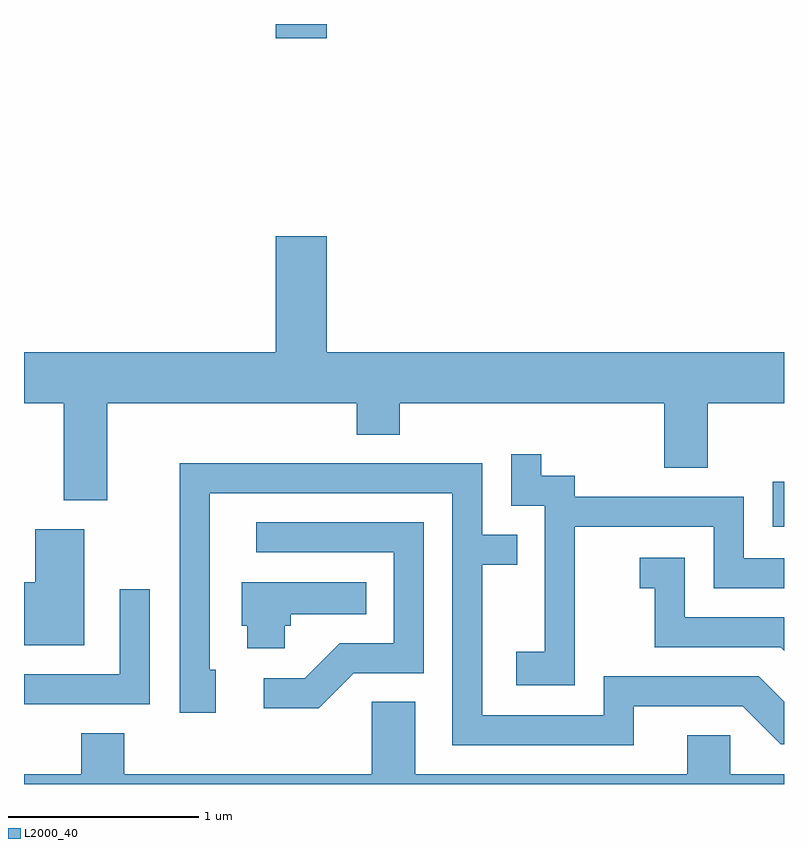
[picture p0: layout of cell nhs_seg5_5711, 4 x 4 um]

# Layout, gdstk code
import gdstk
lib = gdstk.Library(unit=1e-6, precision=1e-09)
def R(c, l, rs):  # rectangles x0, y0, x1, y1
    for r in rs: c.add(gdstk.rectangle(r[:2], r[2:], *l))
def P(c, l, *ps):  # polygons
    for p in ps: c.add(gdstk.Polygon(p, *l))
L2000_40 = (2000, 40)

nhs_seg5_5711 = lib.new_cell('nhs_seg5_5711')
R(nhs_seg5_5711, L2000_40, [(357.551,1509.426,357.611,1509.663), (354.936,1511.996,355.204,1512.072)])
P(nhs_seg5_5711, L2000_40, [(354.049,1510.076),(355.361,1510.076),(355.361,1509.911),(355.589,1509.911),(355.589,1510.076),(356.981,1510.076),(356.981,1509.736),(357.209,1509.736),(357.209,1510.076),(357.611,1510.076),(357.611,1510.344),(355.204,1510.344),(355.204,1510.954),(354.936,1510.954),(354.936,1510.344),(353.611,1510.344),(353.611,1510.076),(353.821,1510.076),(353.821,1509.566),(354.049,1509.566)],
  [(356.509,1509.426),(357.241,1509.426),(357.241,1509.101),(357.611,1509.101),(357.611,1509.259),(357.399,1509.259),(357.399,1509.584),(356.509,1509.584),(356.509,1509.694),(356.334,1509.694),(356.334,1509.808),(356.176,1509.808),(356.176,1509.536),(356.351,1509.536),(356.351,1508.769),(356.201,1508.769),(356.201,1508.591),(356.509,1508.591)],
  [(356.819,1508.481),(357.394,1508.481),(357.594,1508.281),(357.611,1508.281),(357.611,1508.505),(357.477,1508.639),(356.661,1508.639),(356.661,1508.434),(356.024,1508.434),(356.024,1509.226),(356.208,1509.226),(356.208,1509.384),(356.024,1509.384),(356.024,1509.759),(354.431,1509.759),(354.431,1508.446),(354.619,1508.446),(354.619,1508.674),(354.589,1508.674),(354.589,1509.601),(355.866,1509.601),(355.866,1508.276),(356.819,1508.276)],
  [(355.347,1508.656),(355.714,1508.656),(355.714,1509.449),(354.833,1509.449),(354.833,1509.291),(355.556,1509.291),(355.556,1508.814),(355.274,1508.814),(355.089,1508.629),(354.873,1508.629),(354.873,1508.471),(355.162,1508.471)],
  [(353.929,1509.414),(353.671,1509.414),(353.671,1509.134),(353.611,1509.134),(353.611,1508.801),(353.929,1508.801)],
  [(357.611,1508.949),(357.089,1508.949),(357.089,1509.264),(356.853,1509.264),(356.853,1509.101),(356.931,1509.101),(356.931,1508.791),(357.594,1508.791),(357.611,1508.774)],
  [(354.984,1508.906),(355.014,1508.906),(355.014,1508.966),(355.413,1508.966),(355.413,1509.134),(354.756,1509.134),(354.756,1508.906),(354.786,1508.906),(354.786,1508.786),(354.984,1508.786)],
  [(354.274,1509.098),(354.116,1509.098),(354.116,1508.649),(353.611,1508.649),(353.611,1508.491),(354.274,1508.491)],
  [(357.611,1508.124),(357.329,1508.124),(357.329,1508.329),(357.101,1508.329),(357.101,1508.124),(355.669,1508.124),(355.669,1508.504),(355.441,1508.504),(355.441,1508.124),(354.139,1508.124),(354.139,1508.339),(353.911,1508.339),(353.911,1508.124),(353.611,1508.124),(353.611,1508.072),(357.611,1508.072)])

lib.write_gds('nhs_seg5_5711.gds')
